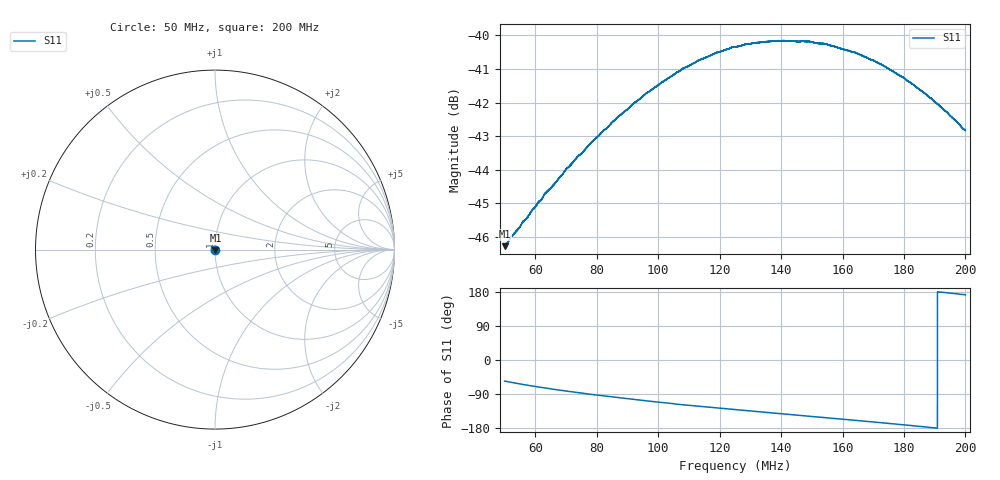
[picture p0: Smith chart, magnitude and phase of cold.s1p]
! COPPER MOUNTAIN TECHNOLOGIES, PLANAR TR1300/1, 00071119, 20.2.2/1.0
! Date: 1/9/2024 7:43:22 PM
! Data: Format [Calibration Info]
! Freq  S11: Re/Im F1
# HZ S RI R 50
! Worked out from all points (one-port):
!   12288 points, 50 MHz to 200 MHz, reference 50 ohm
!   lowest |S11| = -46.3 dB at 50.02 MHz (marker M1), VSWR 1.01, Z = 50.3 - j0.403 ohm
!   |S11| at or under -10 dB: start of sweep to end of sweep
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5e7  0.00275 -0.00401
5.002442e7  0.00274 -0.00401
5.074469e7  0.00268 -0.0041
5.739806e7  0.00214 -0.00491
6.338e7  0.0016 -0.00561
6.544315e7  0.00138 -0.00579
6.875153e7  0.00103 -0.00612
7.350045e7  0.000512 -0.00656
7.536828e7  0.000289 -0.00669
7.820054e7  -8.6e-05 -0.00692
8.750305e7  -0.0013 -0.00749
9.599984e7  -0.00248 -0.00781
1.062546e8  -0.00396 -0.00787
1.133963e8  -0.0049 -0.00777
1.187556e8  -0.00555 -0.0076
1.250061e8  -0.00626 -0.00728
1.286319e8  -0.00667 -0.00704
1.343575e8  -0.00722 -0.00659
1.437576e8  -0.00798 -0.0057
1.493001e8  -0.00835 -0.0051
1.542077e8  -0.00858 -0.00456
1.625092e8  -0.00878 -0.00354
1.656832e8  -0.00881 -0.00315
1.730203e8  -0.00875 -0.00222
1.812607e8  -0.00847 -0.00117
1.890006e8  -0.00804 -0.000228
1.939204e8  -0.00768 0.000342
2e8  -0.00715 0.000997
